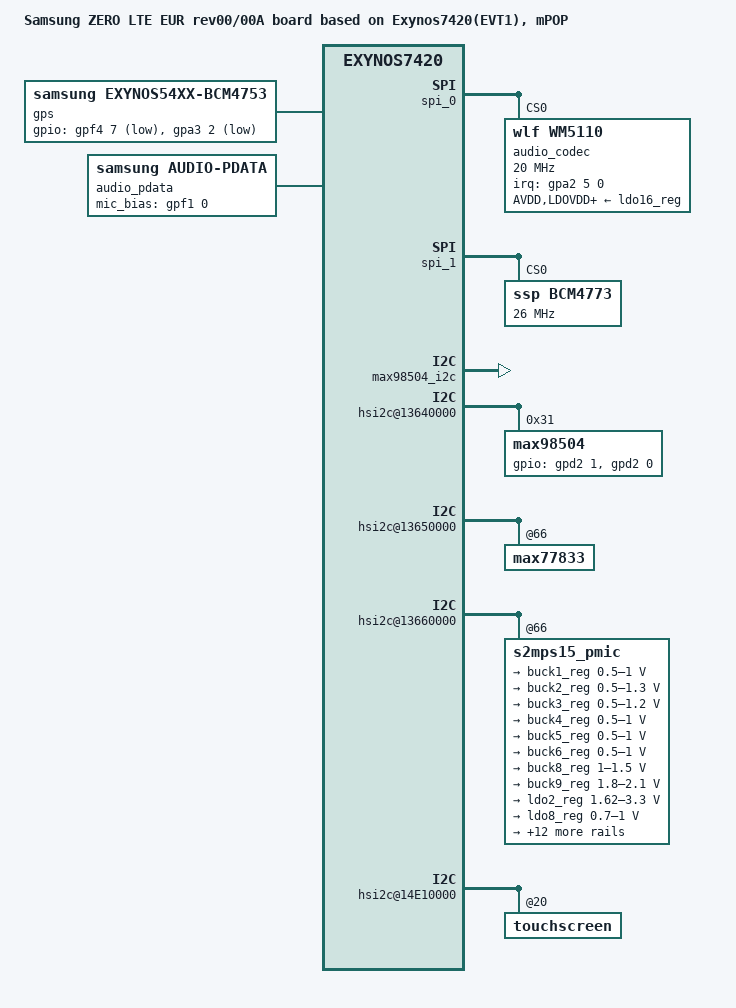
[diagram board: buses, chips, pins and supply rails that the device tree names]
/*
 * SAMSUNG UNIVERSAL7420 board device tree source
 *
 * Copyright (c) 2014 Samsung Electronics Co., Ltd.
 *		http://www.samsung.com
 *
 * This program is free software; you can redistribute it and/or modify
 * it under the terms of the GNU General Public License version 2 as
 * published by the Free Software Foundation.
*/

/dts-v1/;
#include "exynos7420-zero_common.dtsi"
#include "exynos7420-zerolte_battery.dtsi"
#include "exynos7420-zerolte_gpio_00.dtsi"
#include "exynos7420-zerolte_modem-shannon.dtsi"
#include "exynos7420-zerolte_fingerprint-sensor_00.dtsi"
#include "exynos7420-zerolte_mst.dtsi"

/ {
	model = "Samsung ZERO LTE EUR rev00/00A board based on Exynos7420(EVT1), mPOP";
	model_info-chip = <7420>;
	model_info-platform = "android";
	model_info-subtype = "samsung";
	model_info-hw_rev = <0>;
	model_info-hw_rev_end = <1>;
	compatible = "samsung,ZERO LTE EUR EVT1 mPOP,r00/00A", "samsung,exynos7420";

	spi_0: spi@14d20000 {
		/delete-property/ dma-mode;
		/delete-property/ dmas;
		/delete-property/ dma-names;

		num-cs = <1>;
		status = "okay";

		audio_codec: wm5110@0 {
			compatible = "wlf,wm5110";
			reg = <0x0>;
			spi-max-frequency = <20000000>;
			interrupts = <5 0 0>;
			interrupt-parent = <&gpa2>;

			gpio-controller;
			#gpio-cells = <2>;

			pinctrl-names ="default";
			pinctrl-0 = <&codec_reset &codec_ldoena &audio_ctrl &codec_irq>;

			wlf,reset = <&gpf4 0 0>;
			wlf,ldoena = <&gpf5 7 0>;
			wlf,init-mic-delay = <30>;
			wlf,micd-detect-debounce = <300>;
			wlf,micd-pol-gpio = <0>;
			wlf,micd-bias-start-time = <0x1>;
			wlf,micd-rate = <0x7>;
			wlf,micd-dbtime = <0x1>;
			wlf,micd-timeout = <1000>;
			wlf,micd-force-micbias;
			wlf,hpdet-moisture-imp = <2000>;
			wlf,hpdet-moisture-debounce = <40>;
			wlf,hpdet-channel = <1>;
			wlf,hpdet-ext-res = <59>;
			wlf,hpdet-short-circuit-imp = <3>;
			wlf,micd-ranges = <
				116 226
				173 582
				321 115
				752 114
				1257 217
			>;
			wlf,hs-mic = <3>;
			wlf,micd-configs = <
				0x0 1 0
			>;

			wlf,micbias1 = <2800 0 1 0 0>;
			wlf,micbias2 = <1800 0 1 0 0>;
			wlf,micbias3 = <1800 0 1 0 0>;

			wlf,gpio-defaults = <
				0xA101
				0xA101
				0xA101
				0xA101
				0x8101
			>;

			wlf,gpsw = <0x3>;
			wlf,use-jd-gpio;
			wlf,jd-gpio-nopull;
			wlf,micd-software-compare;
			wlf,micd-open-circuit-declare = <1>;
			wlf,jd-wake-time = <5000>;

			wlf,max-channels-clocked = <2 0 0>;
			/* 0:MICVDD 1:MICBIAS1 2:MICBIAS2 3:MICBIAS3 */
			wlf,dmic-ref = <2 1 3 0>;
			/* 1st cell:IN1 2rd cell:IN2 3nd cell:IN3 4th cell:IN4 */
			wlf,inmode = <2 0 2 0>;
			/* 1st cell:OUT1 2nd cell:OUT2 3rd cell:OUT3... 6th cell:OUT6 */
			wlf,out-mono = <0 1 1 0 0 0>;

			wlf,rev-specific-fw;

			AVDD-supply = <&ldo16_reg>;
			LDOVDD-supply = <&ldo16_reg>;
			DBVDD1-supply = <&ldo16_reg>;

			CPVDD-supply = <&ldo16_reg>;
			DBVDD2-supply = <&ldo16_reg>;
			DBVDD3-supply = <&ldo16_reg>;
			SPKVDDL-supply = <&ldo16_reg>;
			SPKVDDR-supply = <&ldo16_reg>;

			adsps {
				#address-cells = <1>;
				#size-cells = <0>;

				adsp@1100 {
					reg = <0x1100>;
					firmware {
						EDAC {
							wlf,wmfw-file = "edac";
							wlf,bin-file = "edac";
						};
						TRACE {
							wlf,wmfw-file = "trace";
							wlf,bin-file = "None";
							wlf,compr-caps = <1 8 0x4 1 8000 16000 24000>;
						};
					};
				};
				adsp@1200 {
					reg = <0x1200>;
					firmware {
						TX_NB {
							wlf,wmfw-file = "tx-nb";
							wlf,bin-file = "None";
						};
						TX_WB {
							wlf,wmfw-file = "tx-wb";
							wlf,bin-file = "None";
						};
						TX_SWB_INTERVIEW {
							wlf,wmfw-file = "tx-swb";
							wlf,bin-file = "None";
						};
						TX_SWB_CONVERSATION {
							wlf,wmfw-file = "tx-swb";
							wlf,bin-file = "None";
						};
						TX_FB_MEETING {
							wlf,wmfw-file = "tx-fb-meeting";
							wlf,bin-file = "tx-fb-meeting";
						};
					};
				};
				adsp@1300 {
					reg = <0x1300>;
					firmware {
						TX_NB {
							wlf,wmfw-file = "tx-nb";
							wlf,bin-file = "tx-nb";
						};
						TX_WB {
							wlf,wmfw-file = "tx-wb";
							wlf,bin-file = "tx-wb";
						};
						TX_SWB_INTERVIEW {
							wlf,wmfw-file = "tx-swb";
							wlf,bin-file = "tx-swb-interview";
						};
						TX_SWB_CONVERSATION {
							wlf,wmfw-file = "tx-swb";
							wlf,bin-file = "tx-swb-conversation";
						};
						TX_WB_MEETING {
							wlf,wmfw-file = "tx-wb-meeting";
							wlf,bin-file = "tx-wb-meeting";
						};

						VOICECONTROL {
							wlf,wmfw-file = "ez2-control";
							wlf,bin-file = "ez2-control";
							wlf,compr-caps = <1 1 0x4 1 16000>;
						};
						LPSD {
							wlf,wmfw-file = "ez2-control";
							wlf,bin-file = "lpsd-control";
						};
					};
				};
				adsp@1400 {
					reg = <0x1400>;
					firmware {
						DSM {
							wlf,wmfw-file = "dsm";
							wlf,bin-file = "None";
						};
						RX_NB {
							wlf,wmfw-file = "rx-anc-nb";
							wlf,bin-file = "rx-anc-nb";
						};
						RX_WB {
							wlf,wmfw-file = "rx-anc-wb";
							wlf,bin-file = "rx-anc-wb";
						};
					};
				};
			};
			controller-data {
				cs-gpio = <&gpd8 1 0>;
				samsung,spi-feedback-delay = <0>;
			};
		};
	};

	spi_1: spi@14d30000 {
		#address-cells = <1>;
		#size-cells = <0>;

		pinctrl-names = "default";
		pinctrl-0 = <&spi1_mosi_sck_ssn &spi1_miso>;

		num-cs = <1>;
		status = "okay";

		BCM4773@0 {
			compatible = "ssp,BCM4773";
			reg = <0>;
			spi-max-frequency = <26000000>;
			spi-cpol;
			spi-cpha;
			pinctrl-names = "default";
			pinctrl-0 = <&ssp_host_req &ssp_mcu_req &ssp_mcu_resp>;

			gpio-controller;
			#gpio-cells = <2>;
			ssp-host-req = <&gpa3 6 0x01>;
			ssp-mcu-req = <&gpf4 5 0x01>;
			ssp-mcu-resp = <&gpf4 4 0x00>;
			ssp-acc-position = <6>;
			ssp-mag-position = <6>;
			ssp-sns-combination = <0>;
			ssp,prox-hi_thresh = <2000>;
			ssp,prox-low_thresh = <1400>;
			ssp-ap-rev = <1>;
			ssp-mag-array = <9930 866 (-228) 263 9197 121 (-135) 387 10378>;
			ssp-glass-type = <1>;

			controller-data {
				cs-gpio = <&gpd6 3 0>;
				samsung,spi-feedback-delay = <0>;
				};
			};
	};

	gps {
		compatible = "samsung,exynos54xx-bcm4753";

		pinctrl-names = "default";
		pinctrl-0 = <&ssp_gps_pwr_en &ssp_host_wake>;

		gpios = <&gpf4 7 0x1
			      &gpa3 2 0xf
				>;
		status = "okay";
	};
	
	sound {
		samsung,audio-routing =
				"HDMIL", "AIF1RX1",
				"HDMIR", "AIF1RX2",
				"HDMI", "HDMIL",
				"HDMI", "HDMIR",
				"HP", "HPOUT1L",
				"HP", "HPOUT1R",
				"SPK", "HPOUT2L",
				"SPK", "HPOUT2R",
				"VPS", "HPOUT2L",
				"VPS", "HPOUT2R",
				"RCV", "HPOUT3L",
				"RCV", "HPOUT3R",
				"IN1R", "Main Mic",
				"Main Mic", "MICBIAS2",
				"Headset Mic", "MICBIAS1",
				"IN2R", "Headset Mic",
				"Sub Mic", "MICBIAS3",
				"IN3L", "Sub Mic",
				"Third Mic", "MICBIAS2",
				"Third Mic", "MICBIAS3",
				"IN3R", "Third Mic",
				"VI SENSING", "MICVDD",
				"IN4R", "VI SENSING",
				"IN4L", "VI SENSING";

		mixer-paths = "mixer_paths_florida.xml";
	};

	audio_pdata {
		compatible = "samsung,audio-pdata";

		mic_bias_gpio = <&gpf1 0 0>;
		seamless_voicewakeup;
		status = "okay";
	};
	
	antenna_switch {
		status = "okay";
		compatible = "antenna_switch";
		pinctrl-names = "default";
		pinctrl-0 = <&antenna_switch_en>;
		antenna_switch,gpio_antenna_switch = <&gpr3 6 0>;
	};
	
	pinctrl@10580000 {
		codec_irq: codec-irq {
			samsung,pins = "gpa2-5";
			samsung,pin-function = <0xf>;
			samsung,pin-pud = <0>;
		};
		max98504_ctrl: max98504-ctl {
			samsung,pins ="gpa2-0";
			samsung,pin-function = <0>;
			samsung,pin-pud = <0>;
			samsung,pin-con-pdn =<2>;
			samsung,pin-pud-pdn = <0>;
		};
	};

	pinctrl@13470000 {
		max98504_i2c: max98504-i2c {
			samsung,pins = "gpd2-0", "gpd2-1";
			samsung,pin-pud = <0>;
			status = "okay";
		};
		fimc_is_flash_host: fimc-is-flash-host {
			samsung,pins = "gpc0-2";
			samsung,pin-function = <1>;
			samsung,pin-pud = <1>;
			samsung,pin-drv = <0>;
		};
		fimc_is_flash_is: fimc-is-flash-is {
			samsung,pins = "gpc0-2";
			samsung,pin-function = <2>;
			samsung,pin-pud = <1>;
			samsung,pin-drv = <0>;
		};
	};

	pinctrl@14870000 {
		audio_ctrl: audio-ctl {
			samsung,pins ="gpf1-0";
			samsung,pin-pud = <0>;
			samsung,pin-con-pdn =<3>;
		};
		codec_reset: codec-reset {
			samsung,pins ="gpf4-0";
			samsung,pin-function = <1>;
			samsung,pin-pud = <0>;
			samsung,pin-con-pdn =<3>;
			samsung,pin-pud-pdn = <1>;
			samsung,pin-val = <0>;
		};
		codec_ldoena: codec-ldoena {
			samsung,pins ="gpf5-7";
			samsung,pin-function = <1>;
			samsung,pin-pud = <0>;
			samsung,pin-con-pdn =<3>;
			samsung,pin-pud-pdn = <1>;
			samsung,pin-val = <1>;
		};
	};

	pinctrl@15690000 {
		antenna_switch_en: antenna-switch-en {
                        samsung,pins = "gpr3-6";
                        samsung,pin-function = <1>;
                        samsung,pin-pud = <0>;
                        samsung,pin-val = <0>;
                };		
	};

	hsi2c@13640000 {
		status = "okay";
		max98504@31 {
			compatible = "max98504";
			reg = <0x31>;
			pinctrl-names = "default";
			pinctrl-0 = <&max98504_i2c &max98504_ctrl>;
			gpios = <&gpd2 1 0
				&gpd2 0 0
				>;
			i2c-gpio,delay-us = <2>;
			max98504,rx_mode = <1>;
			max98504,tx_mode = <1>;
			max98504,cfg_data = <0 0 0 0 0 3 0 2 0 0>;
		};
	};

	hsi2c@13650000{
		max77833@66 {
			status = "okay";
		};
	};

	hsi2c@13660000 {
		s2mps15_pmic@66 {
			regulators {
				buck1_reg: BUCK1 {
					regulator-name = "vdd_mif";
					regulator-min-microvolt = <500000>;
					regulator-max-microvolt = <1000000>;
					regulator-always-on;
					regulator-boot-on;
					regulator-ramp-delay = <12000>;
					regulator-initial-mode = <1>;
				};

				buck2_reg: BUCK2 {
					regulator-name = "vdd_atlas";
					regulator-min-microvolt = <500000>;
					regulator-max-microvolt = <1300000>;
					regulator-always-on;
					regulator-boot-on;
					regulator-ramp-delay = <12000>;
					regulator-initial-mode = <1>;
				};

				buck3_reg: BUCK3 {
					regulator-name = "vdd_apollo";
					regulator-min-microvolt = <500000>;
					regulator-max-microvolt = <1200000>;
					regulator-always-on;
					regulator-boot-on;
					regulator-ramp-delay = <12000>;
					regulator-initial-mode = <1>;
				};

				buck4_reg: BUCK4 {
					regulator-name = "vdd_int";
					regulator-min-microvolt = <500000>;
					regulator-max-microvolt = <1000000>;
					regulator-always-on;
					regulator-boot-on;
					regulator-ramp-delay = <12000>;
					regulator-initial-mode = <1>;
				};

				buck5_reg: BUCK5 {
					regulator-name = "vdd_disp_cam0";
					regulator-min-microvolt = <500000>;
					regulator-max-microvolt = <1000000>;
					regulator-always-on;
					regulator-boot-on;
					regulator-ramp-delay = <12000>;
					regulator-initial-mode = <1>;
				};

				buck6_reg: BUCK6 {
					regulator-name = "vdd_g3d";
					regulator-min-microvolt = <500000>;
					regulator-max-microvolt = <1000000>;
					regulator-always-on;
					regulator-boot-on;
					regulator-ramp-delay = <12000>;
					regulator-initial-mode = <1>;
				};

				buck8_reg: BUCK8 {
					regulator-name = "vdd_lldo";
					regulator-min-microvolt = <1000000>;
					regulator-max-microvolt = <1500000>;
					regulator-always-on;
					regulator-ramp-delay = <12000>;
					regulator-initial-mode = <3>;
				};

				buck9_reg: BUCK9 {
					regulator-name = "vdd_mldo";
					regulator-min-microvolt = <1800000>;
					regulator-max-microvolt = <2100000>;
					regulator-always-on;
					regulator-ramp-delay = <12000>;
					regulator-initial-mode = <3>;
				};

				ldo2_reg: LDO2 {
					regulator-name = "vqmmc";
					regulator-min-microvolt = <1620000>;
					regulator-max-microvolt = <3300000>;
					regulator-ramp-delay = <12000>;
					regulator-initial-mode = <1>;
					regulator-boot-on;
				};

				ldo8_reg: LDO8 {
					regulator-name = "vdd_ldo8";
					regulator-min-microvolt = <700000>;
					regulator-max-microvolt = <1000000>;
					regulator-always-on;
					regulator-initial-mode = <1>;
				};

				ldo15_reg: LDO15 {
					regulator-name = "VF_1.8V";
					regulator-min-microvolt = <1800000>;
					regulator-max-microvolt = <1800000>;
				};

				ldo16_reg: LDO16 {
					regulator-name = "VCC_1.8V_CODEC_PMIC";
					regulator-min-microvolt = <1800000>;
					regulator-max-microvolt = <1800000>;
				};

				ldo17_reg: LDO17 {
					regulator-name = "VCC_MOTOR_3.0";
					regulator-min-microvolt = <3300000>;
					regulator-max-microvolt = <3300000>;
				};

				ldo18_reg: LDO18 {
					regulator-name = "HRM_VDD_1.8V";
					regulator-min-microvolt = <1800000>;
					regulator-max-microvolt = <1850000>;
				};

				ldo19_reg: LDO19 {
					regulator-name = "MST_LEVEL_3.0V";
					regulator-min-microvolt = <3000000>;
					regulator-max-microvolt = <3000000>;
				};

				ldo20_reg: LDO20 {
					regulator-name = "VCC_1.8V_MHL";
					regulator-min-microvolt = <1800000>;
					regulator-max-microvolt = <1800000>;
				};

				ldo21_reg: LDO21 {
					regulator-name = "key_led";
					regulator-min-microvolt = <3300000>;
					regulator-max-microvolt = <3300000>;
				};

				ldo22_reg: LDO22 {
					regulator-name = "VDD22_1P2_AP";
					regulator-min-microvolt = <1200000>;
					regulator-max-microvolt = <1200000>;
				};

				ldo23_reg: LDO23 {
					regulator-name = "VDD_1.8V_ESE";
					regulator-min-microvolt = <1800000>;
					regulator-max-microvolt = <1800000>;
				};

				ldo24_reg: LDO24 {
					regulator-name = "V_HRM_3.3V";
					regulator-min-microvolt = <3300000>;
					regulator-max-microvolt = <3350000>;
					regulator-initial-mode = <1>;
				};

				ldo25_reg: LDO25 {
					regulator-name = "PROX_LED_3.3V";
					regulator-min-microvolt = <3300000>;
					regulator-max-microvolt = <3300000>;
					regulator-boot-on;
					regulator-always-on;
					regulator-initial-mode = <3>;
				};

				ldo26_reg: LDO26 {
					regulator-name = "VSIL_1.0V";
					regulator-min-microvolt = <1000000>;
					regulator-max-microvolt = <1000000>;
				};
			};
		};
	};

	sec_thermistor@0 {
		status = "okay";

		adc_array = <125 128 131 134 137 140 145 150 155 160
			165 169 173 177 181 185 192 199 206 213
			220 239 258 267 276 281 287 290 293 303
			314 324 334 343 352 364 377 397 416 442
			469 484 499 514 528 543 560 577 593 610
			626 648 670 691 713 734 749 763 777 791
			805 834 863 891 919 947 964 981 998 1014
			1031 1056 1081 1106 1131 1157 1182 1207 1232 1258
			1284 1312 1340 1368 1396 1423 1444 1464 1484 1504
			1524 1542 1560 1578 1596 1615 1630 1646 1661 1678
			1693 1705 1718 1730 1743 1757 1764 1772 1779 1787
			1794>;
	};

	hsi2c@14E10000 {
		touchscreen@20 {
			stm,num_touchkey = <2>;
			stm,regulator_tk_led = "key_led";
		};
	};

	dwmmc0@15740000 {
		status = "disabled";
	};

	dwmmc2@15560000 {
		vdd_vmmc-supply = <&ldo25_reg>;
		vqmmc-supply = <&ldo2_reg>;
	};
	
		dsim_0: dsim@0x13900000 {
		gpios = <&gpr3 0 0x1>;
		regulator_30V = "VCC_3.0V_LCD";
		regulator_18V = "VCC_DISPLAY_1.8V"; 
		lcd_info = <&s6e3hf2_wqhd>;
	};

	s6e3hf2_wqxga: s6e3hf2_wqxga_panel {
		mode = <2>;		/* 0: video mode, 1: DP command mode, 2: MIPI command mode */
		resolution = <1440 2560>;
		size = <70 121>;
		timing,refresh = <60>;
		timing,h-porch = <1 1 1>;
		timing,v-porch = <15 1 1>;
		timing,dsi-hs-clk = <1100>;
		timing,dsi-escape-clk = <20>;
		mic = <1>;		/* 0: mic disable, 1: mic enable */
		mic_ver = <2>;		/* 0: mic v1.1, 1: v1.2, 2: v2.0 */
		type_of_ddi = <0>;	/* 0: Samsung Mobile, 1: MAGNA, 2: Normal(Etc) */
	};

	s6e3hf2_wqhd: s6e3hf2_wqhd_panel {
		mode = <2>;
		resolution = <1440 2560>;
		size = <63 112>;
		timing,refresh = <60>;
		timing,h-porch = <1 1 1>;
		timing,v-porch = <15 1 1>;
		timing,dsi-hs-clk = <1026>;
		timing,dsi-escape-clk = <20>;
		mic = <1>;
		mic_ver = <2>;
		type_of_ddi = <0>;
	};

	fimc_is@14200000 {
		pinctrl-names = "default", "release";
		pinctrl-0 = <&fimc_is_mclk0_out &fimc_is_mclk1_out &fimc_is_mclk2_out>;
		pinctrl-1 = <>;
	};

	fimc_is_sensor_imx240: fimc-is_sensor_imx240@34 {
		pinctrl-names = "pin0", "pin1", "pin2";
		pinctrl-0 = <>;
		pinctrl-1 = <&fimc_is_mclk0_out &fimc_is_mclk1_out &fimc_is_i2c0 &fimc_is_i2c2>;
		pinctrl-2 = <&fimc_is_mclk0_fn &fimc_is_mclk1_fn &fimc_is_i2c0 &fimc_is_i2c2>;

		flash {
			product_name = <5>; /* KTD2692 */
			flash_first_gpio = <2>;
			flash_second_gpio = <3>;
		};
	};

	fimc_is_sensor_2p2: fimc-is_sensor_2p2@5A {
		pinctrl-names = "pin0", "pin1", "pin2";
		pinctrl-0 = <>;
		pinctrl-1 = <&fimc_is_mclk0_out &fimc_is_mclk1_out &fimc_is_i2c0 &fimc_is_i2c2>;
		pinctrl-2 = <&fimc_is_mclk0_fn &fimc_is_mclk1_fn &fimc_is_i2c0 &fimc_is_i2c2>;

		flash {
			product_name = <5>; /* KTD2692 */
			flash_first_gpio = <2>;
			flash_second_gpio = <3>;
		};
	};

	fimc_is_sensor_4e6_c2: fimc-is_sensor_4e6_c2@6A {
		pinctrl-names = "pin0", "pin1", "pin2";
		pinctrl-0 = <>;
		pinctrl-1 = <&fimc_is_mclk1_out &fimc_is_mclk2_out &fimc_is_i2c0 &fimc_is_i2c1>;
		pinctrl-2 = <&fimc_is_mclk1_fn &fimc_is_mclk2_fn &fimc_is_i2c0 &fimc_is_i2c1>;
	};

	leds_ktd2692 {
		compatible = "ktd2692";
		flash_control = <&gpc0 2 0x1>;
		status = "okay";
		pinctrl-names ="default","host","is";
		pinctrl-0 = <&fimc_is_flash_is>;
		pinctrl-1 = <&fimc_is_flash_host>;
		pinctrl-2 = <&fimc_is_flash_is>;
	};
};
